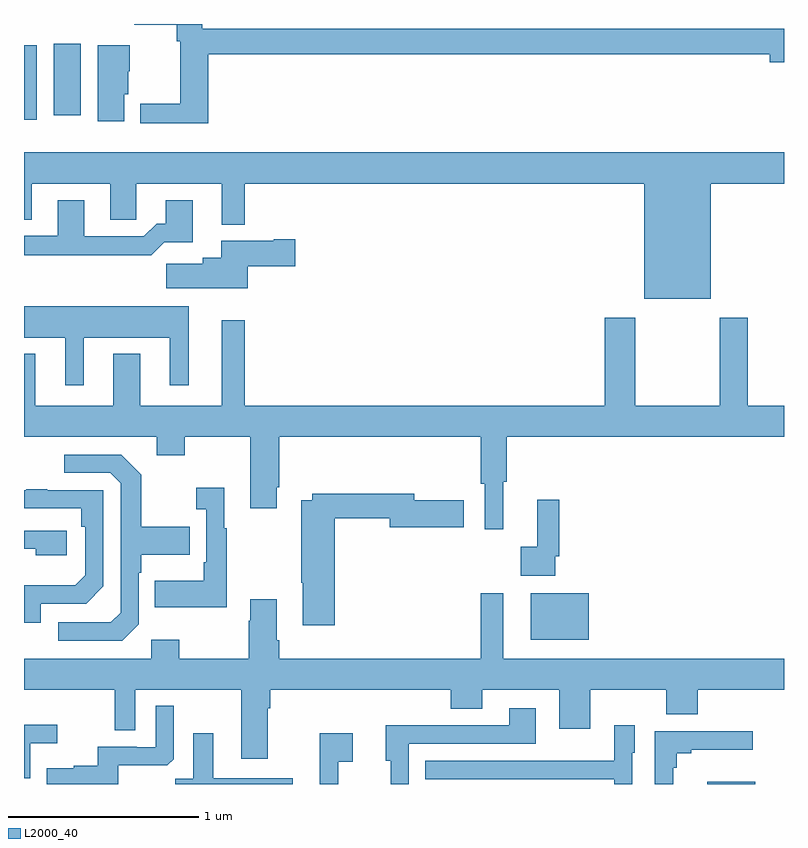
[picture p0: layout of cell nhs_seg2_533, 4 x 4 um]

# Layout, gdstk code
import gdstk
lib = gdstk.Library(unit=1e-6, precision=1e-09)
def R(c, l, rs):  # rectangles x0, y0, x1, y1
    for r in rs: c.add(gdstk.rectangle(r[:2], r[2:], *l))
def P(c, l, *ps):  # polygons
    for p in ps: c.add(gdstk.Polygon(p, *l))
L2000_40 = (2000, 40)

nhs_seg2_533 = lib.new_cell('nhs_seg2_533')
R(nhs_seg2_533, L2000_40, [(140.597,653.8,140.848,653.812), (139.667,654.56,139.972,654.805), (137,657.296,137.068,657.688), (137.156,657.321,137.299,657.697)])
P(nhs_seg2_533, L2000_40, [(137.969,657.64),(140.924,657.64),(140.924,657.598),(141,657.598),(141,657.776),(137.939,657.776),(137.939,657.8),(137.581,657.8),(137.581,657.795),(137.803,657.795),(137.803,657.71),(137.822,657.71),(137.822,657.38),(137.613,657.38),(137.613,657.278),(137.969,657.278)],
  [(137.527,657.429),(137.548,657.429),(137.548,657.552),(137.557,657.552),(137.557,657.688),(137.387,657.688),(137.387,657.288),(137.527,657.288)],
  [(140.614,656.96),(141,656.96),(141,657.124),(137,657.124),(137,656.77),(137.041,656.77),(137.041,656.96),(137.453,656.96),(137.453,656.77),(137.592,656.77),(137.592,656.96),(138.041,656.96),(138.041,656.744),(138.163,656.744),(138.163,656.96),(140.264,656.96),(140.264,656.354),(140.614,656.354)],
  [(137.738,656.651),(137.887,656.651),(137.887,656.872),(137.747,656.872),(137.747,656.749),(137.698,656.749),(137.631,656.682),(137.317,656.682),(137.317,656.872),(137.177,656.872),(137.177,656.685),(137,656.685),(137,656.584),(137.413,656.584),(137.413,656.582),(137.669,656.582)],
  [(138.178,656.525),(138.427,656.525),(138.427,656.667),(138.314,656.667),(138.314,656.659),(138.038,656.659),(138.038,656.569),(137.942,656.569),(137.942,656.537),(137.748,656.537),(137.748,656.408),(138.178,656.408)],
  [(137.314,656.15),(137.768,656.15),(137.768,655.899),(137.866,655.899),(137.866,656.314),(137,656.314),(137,656.15),(137.216,656.15),(137.216,655.899),(137.314,655.899)],
  [(139.523,655.392),(139.541,655.392),(139.541,655.628),(141,655.628),(141,655.792),(140.809,655.792),(140.809,656.254),(140.662,656.254),(140.662,655.792),(140.217,655.792),(140.217,656.254),(140.057,656.254),(140.057,655.792),(138.163,655.792),(138.163,656.242),(138.041,656.242),(138.041,655.792),(137.611,655.792),(137.611,656.065),(137.471,656.065),(137.471,655.792),(137.059,655.792),(137.059,656.065),(137,656.065),(137,655.628),(137.699,655.628),(137.699,655.529),(137.847,655.529),(137.847,655.628),(138.191,655.628),(138.191,655.251),(138.331,655.251),(138.331,655.363),(138.344,655.363),(138.344,655.628),(139.405,655.628),(139.405,655.381),(139.425,655.381),(139.425,655.14),(139.523,655.14)],
  [(137.604,654.642),(137.604,654.911),(137.617,654.911),(137.617,655.007),(137.873,655.007),(137.873,655.155),(137.617,655.155),(137.617,655.427),(137.511,655.533),(137.211,655.533),(137.211,655.437),(137.454,655.437),(137.508,655.383),(137.508,654.702),(137.457,654.651),(137.181,654.651),(137.181,654.555),(137.517,654.555)],
  [(138.067,655.147),(138.055,655.147),(138.055,655.36),(137.907,655.36),(137.907,655.247),(137.958,655.247),(137.958,654.967),(137.946,654.967),(137.946,654.871),(137.689,654.871),(137.689,654.731),(138.067,654.731)],
  [(137.088,654.75),(137.328,654.75),(137.418,654.84),(137.418,655.347),(137.123,655.347),(137.123,655.352),(137.011,655.352),(137.011,655.347),(137,655.347),(137,655.251),(137.302,655.251),(137.302,655.154),(137.322,655.154),(137.322,654.9),(137.269,654.847),(137,654.847),(137,654.648),(137.088,654.648)],
  [(138.635,655.198),(138.926,655.198),(138.926,655.151),(139.315,655.151),(139.315,655.293),(139.054,655.293),(139.054,655.327),(138.516,655.327),(138.516,655.294),(138.46,655.294),(138.46,654.859),(138.467,654.859),(138.467,654.636),(138.635,654.636)],
  [(139.797,655),(139.817,655),(139.817,655.297),(139.7,655.297),(139.7,655.049),(139.614,655.049),(139.614,654.896),(139.797,654.896)],
  [(137.224,655.134),(137,655.134),(137,655.038),(137.063,655.038),(137.063,655.004),(137.224,655.004)],
  [(138.283,654.2),(138.296,654.2),(138.296,654.296),(139.247,654.296),(139.247,654.197),(139.411,654.197),(139.411,654.296),(139.817,654.296),(139.817,654.09),(139.981,654.09),(139.981,654.296),(140.381,654.296),(140.381,654.168),(140.545,654.168),(140.545,654.296),(141,654.296),(141,654.46),(139.522,654.46),(139.522,654.805),(139.405,654.805),(139.405,654.46),(138.344,654.46),(138.344,654.556),(138.331,654.556),(138.331,654.772),(138.191,654.772),(138.191,654.659),(138.184,654.659),(138.184,654.46),(137.817,654.46),(137.817,654.559),(137.67,654.559),(137.67,654.46),(137,654.46),(137,654.296),(137.478,654.296),(137.478,654.082),(137.586,654.082),(137.586,654.296),(138.143,654.296),(138.143,653.934),(138.283,653.934)],
  [(137.497,653.9),(137.755,653.9),(137.787,653.931),(137.787,654.211),(137.694,654.211),(137.694,653.994),(137.594,653.994),(137.594,653.997),(137.387,653.997),(137.387,653.896),(137.263,653.896),(137.263,653.884),(137.119,653.884),(137.119,653.8),(137.497,653.8)],
  [(139.026,654.012),(139.693,654.012),(139.693,654.199),(139.553,654.199),(139.553,654.108),(139.123,654.108),(139.123,654.11),(138.905,654.11),(138.905,653.922),(138.93,653.922),(138.93,653.8),(139.026,653.8)],
  [(137.034,654.014),(137.176,654.014),(137.176,654.113),(137,654.113),(137,653.829),(137.034,653.829)],
  [(140.202,653.964),(140.215,653.964),(140.215,654.109),(140.106,654.109),(140.106,653.923),(139.789,653.923),(139.789,653.922),(139.111,653.922),(139.111,653.826),(140.106,653.826),(140.106,653.8),(140.202,653.8)],
  [(140.417,653.885),(140.435,653.885),(140.435,653.962),(140.512,653.962),(140.512,653.981),(140.836,653.981),(140.836,654.078),(140.319,654.078),(140.319,653.8),(140.417,653.8)],
  [(138.654,653.918),(138.73,653.918),(138.73,654.067),(138.557,654.067),(138.557,653.8),(138.654,653.8)],
  [(138.415,653.83),(137.995,653.83),(137.995,654.067),(137.891,654.067),(137.891,653.828),(137.796,653.828),(137.796,653.8),(138.415,653.8)])

lib.write_gds('nhs_seg2_533.gds')
